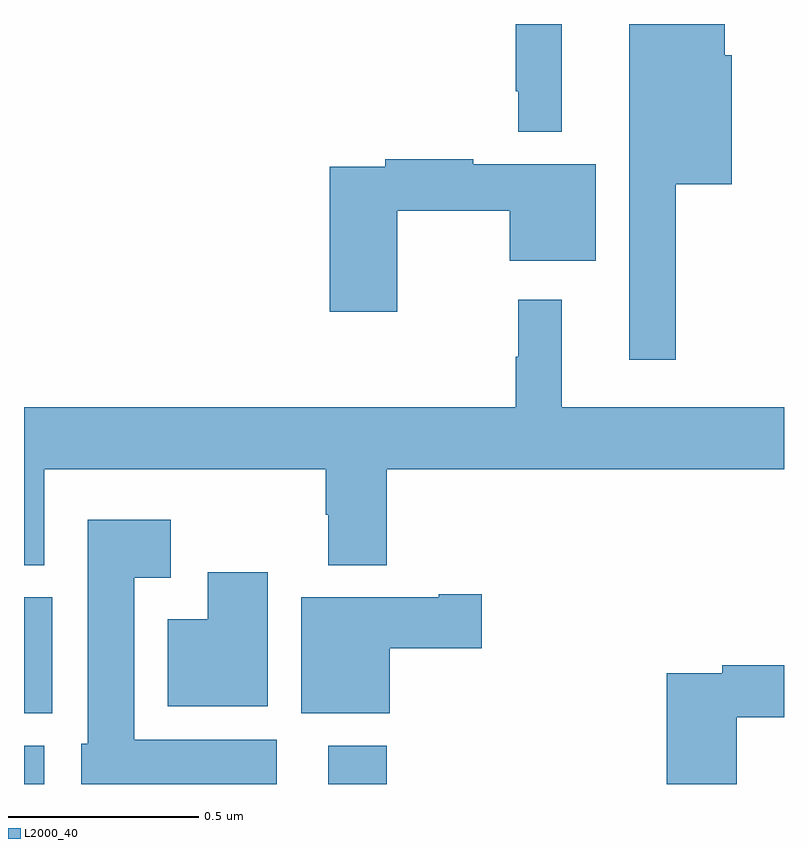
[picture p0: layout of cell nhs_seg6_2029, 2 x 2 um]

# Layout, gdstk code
import gdstk
lib = gdstk.Library(unit=1e-6, precision=1e-09)
def R(c, l, rs):  # rectangles x0, y0, x1, y1
    for r in rs: c.add(gdstk.rectangle(r[:2], r[2:], *l))
def P(c, l, *ps):  # polygons
    for p in ps: c.add(gdstk.Polygon(p, *l))
L2000_40 = (2000, 40)

nhs_seg6_2029 = lib.new_cell('nhs_seg6_2029')
R(nhs_seg6_2029, L2000_40, [(137,954.5,137.053,954.601), (137.801,954.5,137.954,954.601), (137,954.686,137.074,954.991)])
P(nhs_seg6_2029, L2000_40, [(138.415,956.5),(138.294,956.5),(138.294,956.323),(138.3,956.323),(138.3,956.216),(138.415,956.216)],
  [(138.715,956.078),(138.862,956.078),(138.862,956.418),(138.844,956.418),(138.844,956.5),(138.593,956.5),(138.593,955.617),(138.715,955.617)],
  [(137.982,956.008),(138.278,956.008),(138.278,955.877),(138.505,955.877),(138.505,956.131),(138.182,956.131),(138.182,956.144),(137.95,956.144),(137.95,956.124),(137.804,956.124),(137.804,955.743),(137.982,955.743)],
  [(137.053,955.328),(137.794,955.328),(137.794,955.208),(137.801,955.208),(137.801,955.076),(137.954,955.076),(137.954,955.328),(139,955.328),(139,955.492),(138.415,955.492),(138.415,955.774),(138.301,955.774),(138.301,955.625),(138.294,955.625),(138.294,955.492),(137,955.492),(137,955.076),(137.053,955.076)],
  [(137.665,954.616),(137.29,954.616),(137.29,955.043),(137.386,955.043),(137.386,955.195),(137.168,955.195),(137.168,954.606),(137.15,954.606),(137.15,954.5),(137.665,954.5)],
  [(137.641,955.057),(137.483,955.057),(137.483,954.934),(137.378,954.934),(137.378,954.704),(137.641,954.704)],
  [(137.962,954.857),(138.205,954.857),(138.205,954.999),(138.092,954.999),(138.092,954.991),(137.729,954.991),(137.729,954.686),(137.962,954.686)],
  [(138.875,954.676),(139,954.676),(139,954.812),(138.838,954.812),(138.838,954.792),(138.692,954.792),(138.692,954.5),(138.875,954.5)])

lib.write_gds('nhs_seg6_2029.gds')
